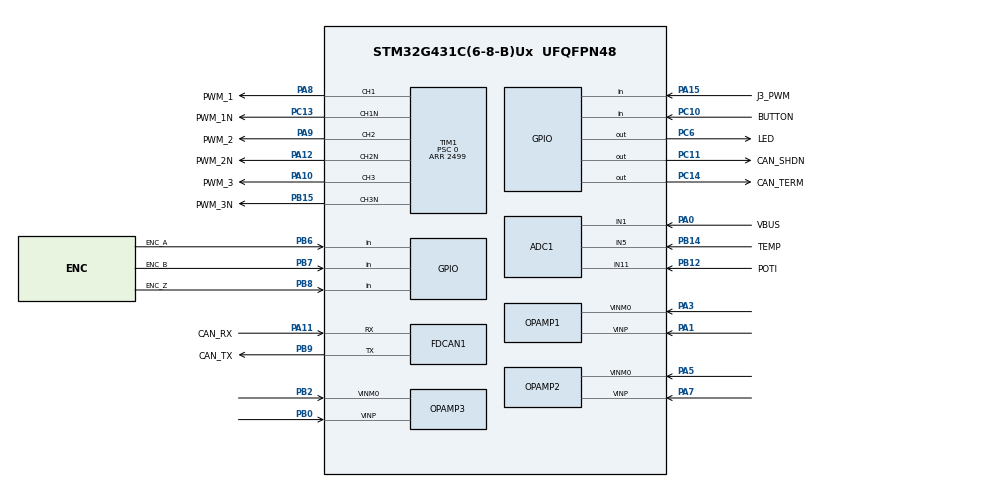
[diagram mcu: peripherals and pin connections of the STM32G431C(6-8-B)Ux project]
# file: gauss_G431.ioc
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ADC1.Channel-0\#ChannelRegularConversion=ADC_CHANNEL_5
ADC1.Channel-1\#ChannelRegularConversion=ADC_CHANNEL_11
ADC1.EOCSelection=ADC_EOC_SEQ_CONV
ADC1.EnableInjectedConversion=ENABLE
ADC1.ExternalTrigInjecConv=ADC_EXTERNALTRIGINJEC_T1_TRGO
ADC1.InjNumberOfConversion=3
ADC1.InjectedChannel-2\#ChannelInjectedConversion=ADC_CHANNEL_VOPAMP1
ADC1.InjectedChannel-3\#ChannelInjectedConversion=ADC_CHANNEL_1
ADC1.InjectedChannel-5\#ChannelInjectedConversion=ADC_CHANNEL_11
ADC1.InjectedConvMode=None
ADC1.InjectedOffset-2\#ChannelInjectedConversion=2490
ADC1.InjectedOffsetNumber-2\#ChannelInjectedConversion=ADC_OFFSET_1
ADC1.InjectedOffsetNumber-3\#ChannelInjectedConversion=ADC_OFFSET_NONE
ADC1.InjectedOffsetNumber-5\#ChannelInjectedConversion=ADC_OFFSET_NONE
ADC1.InjectedRank-2\#ChannelInjectedConversion=1
ADC1.InjectedRank-3\#ChannelInjectedConversion=2
ADC1.InjectedRank-5\#ChannelInjectedConversion=3
ADC1.InjectedSamplingTime-2\#ChannelInjectedConversion=ADC_SAMPLETIME_2CYCLES_5
ADC1.InjectedSamplingTime-3\#ChannelInjectedConversion=ADC_SAMPLETIME_2CYCLES_5
ADC1.InjectedSamplingTime-5\#ChannelInjectedConversion=ADC_SAMPLETIME_2CYCLES_5
ADC1.NbrOfConversion=2
ADC1.NbrOfConversionFlag=1
ADC1.OffsetNumber-0\#ChannelRegularConversion=ADC_OFFSET_NONE
ADC1.OffsetNumber-1\#ChannelRegularConversion=ADC_OFFSET_NONE
ADC1.Rank-0\#ChannelRegularConversion=1
ADC1.Rank-1\#ChannelRegularConversion=2
ADC1.Rank1_Channel=ADC_CHANNEL_VOPAMP1
ADC1.Rank2_Channel=ADC_CHANNEL_1
ADC1.Rank3_Channel=ADC_CHANNEL_11
ADC1.SamplingTime-0\#ChannelRegularConversion=ADC_SAMPLETIME_2CYCLES_5
ADC1.SamplingTime-1\#ChannelRegularConversion=ADC_SAMPLETIME_2CYCLES_5
ADC1.injectedQueueMode=DISABLE
ADC1.master=1
ADC2.EnableInjectedConversion=ENABLE
ADC2.EnableRegularConversion=DISABLE
ADC2.ExternalTrigInjecConv=ADC_EXTERNALTRIGINJEC_T1_TRGO
ADC2.InjNumberOfConversion=2
ADC2.InjectedChannel-1\#ChannelInjectedConversion=ADC_CHANNEL_VOPAMP2
ADC2.InjectedChannel-2\#ChannelInjectedConversion=ADC_CHANNEL_VOPAMP3_ADC2
ADC2.InjectedConvMode=None
ADC2.InjectedOffset-1\#ChannelInjectedConversion=2490
ADC2.InjectedOffset-2\#ChannelInjectedConversion=2490
ADC2.InjectedOffsetNumber-1\#ChannelInjectedConversion=ADC_OFFSET_1
ADC2.InjectedOffsetNumber-2\#ChannelInjectedConversion=ADC_OFFSET_2
ADC2.InjectedRank-1\#ChannelInjectedConversion=1
ADC2.InjectedRank-2\#ChannelInjectedConversion=2
ADC2.InjectedSamplingTime-1\#ChannelInjectedConversion=ADC_SAMPLETIME_2CYCLES_5
ADC2.InjectedSamplingTime-2\#ChannelInjectedConversion=ADC_SAMPLETIME_2CYCLES_5
ADC2.Rank1_Channel=ADC_CHANNEL_VOPAMP2
ADC2.Rank2_Channel=ADC_CHANNEL_VOPAMP3_ADC2
ADC2.injectedQueueMode=DISABLE
FDCAN1.ClockDivider=FDCAN_CLOCK_DIV1
FDCAN1.DataTimeSeg1=1
FDCAN1.DataTimeSeg2=1
FDCAN1.FrameFormat=FDCAN_FRAME_CLASSIC
FDCAN1.NominalTimeSeg1=99
FDCAN1.NominalTimeSeg2=60
Mcu.Family=STM32G4
Mcu.Name=STM32G431C(6-8-B)Ux
Mcu.Package=UFQFPN48
NVIC.FDCAN1_IT0_IRQn=true\:6\:0\:true\:false\:true\:true\:true\:true
NVIC.PriorityGroup=NVIC_PRIORITYGROUP_4
NVIC.TIM1_UP_TIM16_IRQn=true\:5\:0\:true\:false\:true\:true\:true\:true
OPAMP1.PgaGain=OPAMP_PGA_GAIN_16_OR_MINUS_15
OPAMP2.PgaGain=OPAMP_PGA_GAIN_16_OR_MINUS_15
OPAMP3.PgaGain=OPAMP_PGA_GAIN_16_OR_MINUS_15
PA0.GPIO_Label=VBUS
PA0.Mode=IN1-Single-Ended
PA0.Signal=ADC1_IN1
PA1.Mode=PGA Internally connected_IO0_BIAS
PA1.Signal=OPAMP1_VINP
PA10.GPIO_Label=PWM_3
PA10.Signal=S_TIM1_CH3
PA11.GPIO_Label=CAN_RX
PA11.Mode=FDCAN_Activate
PA11.Signal=FDCAN1_RX
PA12.GPIO_Label=PWM_2N
PA12.Mode=PWM Generation2 CH2 CH2N
PA12.Signal=TIM1_CH2N
PA15.GPIO_Label=J3_PWM
PA15.Signal=GPIO_Input
PA3.Mode=PGA Internally connected_IO0_BIAS
PA3.Signal=OPAMP1_VINM0
PA5.Mode=PGA Internally connected_IO0_BIAS
PA5.Signal=OPAMP2_VINM0
PA7.Mode=PGA Internally connected_IO0_BIAS
PA7.Signal=OPAMP2_VINP
PA8.GPIO_Label=PWM_1
PA8.Signal=S_TIM1_CH1
PA9.GPIO_Label=PWM_2
PA9.Signal=S_TIM1_CH2
PB0.Mode=PGA Internally connected_IO0_BIAS
PB0.Signal=OPAMP3_VINP
PB12.GPIO_Label=POTI
PB12.Mode=IN11-Single-Ended
PB12.Signal=ADC1_IN11
PB14.GPIO_Label=TEMP
PB14.Mode=IN5-Single-Ended
PB14.Signal=ADC1_IN5
PB15.GPIO_Label=PWM_3N
PB15.Mode=PWM Generation3 CH3 CH3N
PB15.Signal=TIM1_CH3N
PB2.Mode=PGA Internally connected_IO0_BIAS
PB2.Signal=OPAMP3_VINM0
PB6.GPIO_Label=ENC_A
PB6.Signal=GPIO_Input
PB7.GPIO_Label=ENC_B
PB7.Signal=GPIO_Input
PB8-BOOT0.GPIO_Label=ENC_Z
PB8-BOOT0.Signal=GPIO_Input
PB9.GPIO_Label=CAN_TX
PB9.Mode=FDCAN_Activate
PB9.Signal=FDCAN1_TX
PC10.GPIO_Label=BUTTON
PC10.GPIO_PuPd=GPIO_NOPULL
PC10.Signal=GPIO_Input
PC11.GPIO_Label=CAN_SHDN
PC11.Signal=GPIO_Output
PC13.GPIO_Label=PWM_1N
PC13.Mode=PWM Generation1 CH1 CH1N
PC13.Signal=TIM1_CH1N
PC14-OSC32_IN.GPIO_Label=CAN_TERM
PC14-OSC32_IN.Signal=GPIO_Output
PC6.GPIO_Label=LED
PC6.Signal=GPIO_Output
PF0-OSC_IN.Mode=HSE-External-Oscillator
PF0-OSC_IN.Signal=RCC_OSC_IN
PF1-OSC_OUT.Mode=HSE-External-Oscillator
PF1-OSC_OUT.Signal=RCC_OSC_OUT
ProjectManager.HeapSize=0x200
ProjectManager.StackSize=0x400
ProjectManager.TargetToolchain=STM32CubeIDE
RCC.ADC12Freq_Value=160000000
RCC.AHBFreq_Value=160000000
RCC.APB1Freq_Value=160000000
RCC.APB1TimFreq_Value=160000000
RCC.APB2Freq_Value=160000000
RCC.APB2TimFreq_Value=160000000
RCC.CortexFreq_Value=160000000
RCC.EXTERNAL_CLOCK_VALUE=12288000
RCC.HCLKFreq_Value=160000000
RCC.HSE_VALUE=8000000
RCC.HSI48_VALUE=48000000
RCC.HSI_VALUE=16000000
RCC.LSE_VALUE=32768
RCC.PLLM=RCC_PLLM_DIV2
RCC.PLLN=80
RCC.PLLSourceVirtual=RCC_PLLSOURCE_HSE
RCC.SYSCLKFreq_VALUE=160000000
RCC.SYSCLKSource=RCC_SYSCLKSOURCE_PLLCLK
RCC.USBFreq_Value=160000000
RCC.VCOOutputFreq_Value=320000000
SH.S_TIM1_CH1.0=TIM1_CH1,PWM Generation1 CH1 CH1N
SH.S_TIM1_CH2.0=TIM1_CH2,PWM Generation2 CH2 CH2N
SH.S_TIM1_CH3.0=TIM1_CH3,PWM Generation3 CH3 CH3N
TIM1.AutoReloadPreload=TIM_AUTORELOAD_PRELOAD_ENABLE
TIM1.Channel-PWM\ Generation1\ CH1\ CH1N=TIM_CHANNEL_1
TIM1.Channel-PWM\ Generation2\ CH2\ CH2N=TIM_CHANNEL_2
TIM1.Channel-PWM\ Generation3\ CH3\ CH3N=TIM_CHANNEL_3
TIM1.CounterMode=TIM_COUNTERMODE_CENTERALIGNED1
TIM1.DeadTime=160
TIM1.LockLevel=TIM_LOCKLEVEL_1
TIM1.PeriodNoDither=2499
TIM1.Prescaler=0
TIM1.PulseNoDither_1=0
TIM1.PulseNoDither_2=0
TIM1.PulseNoDither_3=0
TIM1.RepetitionCounter=3
TIM1.TIM_MasterOutputTrigger=TIM_TRGO_UPDATE
VP_ADC1_OPAMP_INTERNAL1.Mode=IN-OPAMP1
VP_ADC2_OPAMP_INTERNAL2.Mode=IN-OPAMP2
VP_ADC2_OPAMP_INTERNAL3.Mode=IN-OPAMP3
VP_SYS_VS_DBSignals.Mode=DisableDeadBatterySignals
VP_TIM1_VS_ClockSourceINT.Mode=Internal
board=custom

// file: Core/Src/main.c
/* USER CODE BEGIN Header */
/**
  ******************************************************************************
  * @file           : main.c
  * @brief          : Main program body
  ******************************************************************************
  * @attention
  *
  * <h2><center>&copy; Copyright (c) 2021 STMicroelectronics.
  * All rights reserved.</center></h2>
  *
  * This software component is licensed by ST under BSD 3-Clause license,
  * the "License"; You may not use this file except in compliance with the
  * License. You may obtain a copy of the License at:
  *                        opensource.org/licenses/BSD-3-Clause
  *
  ******************************************************************************
  */
/* USER CODE END Header */
#include "main.h"

/* USER CODE BEGIN Includes */
#include <math.h>
//#include <string.h>
#include "libcontrol/control.h"
/* USER CODE END Includes */

FDCAN_HandleTypeDef hfdcan1;

/* USER CODE BEGIN PV */

//Power stage XXX
static calib_data_t calib_data = {
		.ia = {.offs = 0, .gain = -1900},
		.ib = {.offs = 0, .gain = -1900},
		.ic = {.offs = 0, .gain = -1900},
		.i_autoOffs = true,
		.vbus = {.offs = 47, .gain = 551},
		.poti = {.offs = 0,  .gain = 256}
};

static FDCAN_RxHeaderTypeDef RxHeader;
static uint8_t RxData[8];
static FDCAN_TxHeaderTypeDef TxHeader;
static uint8_t TxData[8];

/* USER CODE END PV */

void SystemClock_Config(void);
static void MX_GPIO_Init(void);
static void MX_OPAMP3_Init(void);
static void MX_OPAMP1_Init(void);
static void MX_OPAMP2_Init(void);
static void MX_TIM1_Init(void);
static void MX_ADC1_Init(void);
static void MX_ADC2_Init(void);
static void MX_FDCAN1_Init(void);

/* USER CODE BEGIN 0 */

static void FDCAN_Config(void)
{
  FDCAN_FilterTypeDef sFilterConfig;

  /* Configure Rx filter */
  sFilterConfig.IdType = FDCAN_STANDARD_ID;
  sFilterConfig.FilterIndex = 0;
  sFilterConfig.FilterType = FDCAN_FILTER_MASK; //FDCAN_FILTER_RANGE, FDCAN_FILTER_DUAL ...
  sFilterConfig.FilterConfig = FDCAN_FILTER_TO_RXFIFO0;
  sFilterConfig.FilterID1 = 0x321;
  sFilterConfig.FilterID2 = 0x7FF;
  if (HAL_FDCAN_ConfigFilter(&hfdcan1, &sFilterConfig) != HAL_OK)
  {
    Error_Handler();
  }

  /* Configure global filter:
     Filter all remote frames with STD and EXT ID
     Reject non matching frames with STD ID and EXT ID */
  if (HAL_FDCAN_ConfigGlobalFilter(&hfdcan1, FDCAN_REJECT, FDCAN_REJECT, FDCAN_FILTER_REMOTE, FDCAN_FILTER_REMOTE) != HAL_OK)
  {
    Error_Handler();
  }

  /* Start the FDCAN module */
  if (HAL_FDCAN_Start(&hfdcan1) != HAL_OK)
  {
    Error_Handler();
  }

  if (HAL_FDCAN_ActivateNotification(&hfdcan1, FDCAN_IT_RX_FIFO0_NEW_MESSAGE, 0) != HAL_OK)
  {
    Error_Handler();
  }

  /* Prepare Tx Header */
  TxHeader.Identifier = 0x321;
  TxHeader.IdType = FDCAN_STANDARD_ID;
  TxHeader.TxFrameType = FDCAN_DATA_FRAME;
  TxHeader.DataLength = FDCAN_DLC_BYTES_4;
  TxHeader.ErrorStateIndicator = FDCAN_ESI_ACTIVE;
  TxHeader.BitRateSwitch = FDCAN_BRS_OFF;
  TxHeader.FDFormat = FDCAN_CLASSIC_CAN;
  TxHeader.TxEventFifoControl = FDCAN_NO_TX_EVENTS;
  TxHeader.MessageMarker = 0;

  //LL_GPIO_ResetOutputPin(CAN_TERM_GPIO_Port, CAN_TERM_Pin);
  //LL_GPIO_ResetOutputPin(CAN_SHDN_GPIO_Port, CAN_SHDN_Pin);

  LL_GPIO_SetOutputPin(CAN_TERM_GPIO_Port, CAN_TERM_Pin); //Enable 120 Ohm terminating Resistor
}

/**
  * @brief  Rx FIFO 0 callback.
  * @param  hfdcan: pointer to an FDCAN_HandleTypeDef structure that contains
  *         the configuration information for the specified FDCAN.
  * @param  RxFifo0ITs: indicates which Rx FIFO 0 interrupts are signalled.
  *         This parameter can be any combination of @arg FDCAN_Rx_Fifo0_Interrupts.
  * @retval None
  */
void HAL_FDCAN_RxFifo0Callback(FDCAN_HandleTypeDef *hfdcan, uint32_t RxFifo0ITs)
{
  if((RxFifo0ITs & FDCAN_IT_RX_FIFO0_NEW_MESSAGE) != RESET)
  {
    /* Retrieve Rx messages from RX FIFO0 */
    if (HAL_FDCAN_GetRxMessage(hfdcan, FDCAN_RX_FIFO0, &RxHeader, RxData) != HAL_OK)
    {
    Error_Handler();
    }

    /* Display LEDx */
    if ((RxHeader.Identifier == 0x321) && (RxHeader.IdType == FDCAN_STANDARD_ID) && (RxHeader.DataLength == FDCAN_DLC_BYTES_2))
    {
      //LED_Display(RxData[0]);
      //ubKeyNumber = RxData[0];
    }
  }
}

/* USER CODE END 0 */

int main(void)
{

  /* MCU Configuration--------------------------------------------------------*/

  /* Reset of all peripherals, Initializes the Flash interface and the Systick. */
  HAL_Init();

  /* Configure the system clock */
  SystemClock_Config();

  /* Initialize all configured peripherals */
  MX_GPIO_Init();
  MX_OPAMP3_Init();
  MX_OPAMP1_Init();
  MX_OPAMP2_Init();
  MX_TIM1_Init();
  MX_ADC1_Init();
  MX_ADC2_Init();
  MX_FDCAN1_Init();
  /* USER CODE BEGIN 2 */

  //Enable Opamps
  LL_OPAMP_Enable(OPAMP1);
  LL_OPAMP_Enable(OPAMP2);
  LL_OPAMP_Enable(OPAMP3);

  //Enable ADCs
  LL_ADC_Enable(ADC1);
  LL_ADC_Enable(ADC2);

  //LL_ADC_EnableIT_EOCS(ADC1);
  //LL_ADC_REG_StartConversionSWStart(ADC1);
  LL_ADC_INJ_StartConversion(ADC1);
  //LL_ADC_EnableIT_EOCS(ADC2);
  //LL_ADC_REG_StartConversionSWStart(ADC2);
  LL_ADC_INJ_StartConversion(ADC2);

  //TIM 4 is for Encoder
  LL_TIM_EnableCounter(TIM4);
  LL_TIM_CC_EnableChannel(TIM4, LL_TIM_CHANNEL_CH3); //Zero marker position

  //TIM1 is for PWM
  LL_TIM_EnableCounter(TIM1);
  LL_TIM_CC_EnableChannel(TIM1, LL_TIM_CHANNEL_CH1);
  LL_TIM_CC_EnableChannel(TIM1, LL_TIM_CHANNEL_CH1N);
  LL_TIM_CC_EnableChannel(TIM1, LL_TIM_CHANNEL_CH2);
  LL_TIM_CC_EnableChannel(TIM1, LL_TIM_CHANNEL_CH2N);
  LL_TIM_CC_EnableChannel(TIM1, LL_TIM_CHANNEL_CH3);
  LL_TIM_CC_EnableChannel(TIM1, LL_TIM_CHANNEL_CH3N);
  //LL_TIM_EnableAllOutputs(TIM1); //PWM on (done in control FSM)

  //Config / Enable CAN
  FDCAN_Config();
  //HAL_FDCAN_Start(&hfdcan1); // done in FDCAN_Config

  /* Set the data to be transmitted */
  //TxData[0] = 0x12;
  //TxData[1] = 0xAD;

  /* Start the Transmission process */
  //if (HAL_FDCAN_AddMessageToTxFifoQ(&hfdcan1, &TxHeader, TxData) != HAL_OK)
  //{
	  /* Transmission request Error */
	  //Error_Handler();
  //}

  LL_TIM_EnableIT_UPDATE(TIM1); //PWM interrupt

  /* USER CODE END 2 */

  /* Infinite loop */
  while (1)
  {

  }
}

void SystemClock_Config(void)
{
  LL_FLASH_SetLatency(LL_FLASH_LATENCY_4);
  while(LL_FLASH_GetLatency() != LL_FLASH_LATENCY_4)
  {
  }
  LL_PWR_EnableRange1BoostMode();
  LL_RCC_HSE_Enable();
   /* Wait till HSE is ready */
  while(LL_RCC_HSE_IsReady() != 1)
  {
  }

  LL_RCC_PLL_ConfigDomain_SYS(LL_RCC_PLLSOURCE_HSE, LL_RCC_PLLM_DIV_2, 80, LL_RCC_PLLR_DIV_2);
  LL_RCC_PLL_EnableDomain_SYS();
  LL_RCC_PLL_Enable();
   /* Wait till PLL is ready */
  while(LL_RCC_PLL_IsReady() != 1)
  {
  }

  LL_RCC_SetSysClkSource(LL_RCC_SYS_CLKSOURCE_PLL);
  LL_RCC_SetAHBPrescaler(LL_RCC_SYSCLK_DIV_2);
   /* Wait till System clock is ready */
  while(LL_RCC_GetSysClkSource() != LL_RCC_SYS_CLKSOURCE_STATUS_PLL)
  {
  }

  /* Insure 1�s transition state at intermediate medium speed clock based on DWT */
  CoreDebug->DEMCR |= CoreDebug_DEMCR_TRCENA_Msk;
  DWT->CTRL |= DWT_CTRL_CYCCNTENA_Msk;
  DWT->CYCCNT = 0;
  while(DWT->CYCCNT < 100);
  /* Set AHB prescaler*/
  LL_RCC_SetAHBPrescaler(LL_RCC_SYSCLK_DIV_1);
  LL_RCC_SetAPB1Prescaler(LL_RCC_APB1_DIV_1);
  LL_RCC_SetAPB2Prescaler(LL_RCC_APB2_DIV_1);
  LL_SetSystemCoreClock(160000000);

   /* Update the time base */
  if (HAL_InitTick (TICK_INT_PRIORITY) != HAL_OK)
  {
    Error_Handler();
  }
}

static void MX_ADC1_Init(void)
{

  LL_ADC_InitTypeDef ADC_InitStruct = {0};
  LL_ADC_REG_InitTypeDef ADC_REG_InitStruct = {0};
  LL_ADC_CommonInitTypeDef ADC_CommonInitStruct = {0};
  LL_ADC_INJ_InitTypeDef ADC_INJ_InitStruct = {0};

  LL_GPIO_InitTypeDef GPIO_InitStruct = {0};

  LL_RCC_SetADCClockSource(LL_RCC_ADC12_CLKSOURCE_SYSCLK);

  /* Peripheral clock enable */
  LL_AHB2_GRP1_EnableClock(LL_AHB2_GRP1_PERIPH_ADC12);

  LL_AHB2_GRP1_EnableClock(LL_AHB2_GRP1_PERIPH_GPIOA);
  LL_AHB2_GRP1_EnableClock(LL_AHB2_GRP1_PERIPH_GPIOB);
  /**ADC1 GPIO Configuration
  PA0   ------> ADC1_IN1
  PB12   ------> ADC1_IN11
  PB14   ------> ADC1_IN5
  */
  GPIO_InitStruct.Pin = VBUS_Pin;
  GPIO_InitStruct.Mode = LL_GPIO_MODE_ANALOG;
  GPIO_InitStruct.Pull = LL_GPIO_PULL_NO;
  LL_GPIO_Init(VBUS_GPIO_Port, &GPIO_InitStruct);

  GPIO_InitStruct.Pin = POTI_Pin;
  GPIO_InitStruct.Mode = LL_GPIO_MODE_ANALOG;
  GPIO_InitStruct.Pull = LL_GPIO_PULL_NO;
  LL_GPIO_Init(POTI_GPIO_Port, &GPIO_InitStruct);

  GPIO_InitStruct.Pin = TEMP_Pin;
  GPIO_InitStruct.Mode = LL_GPIO_MODE_ANALOG;
  GPIO_InitStruct.Pull = LL_GPIO_PULL_NO;
  LL_GPIO_Init(TEMP_GPIO_Port, &GPIO_InitStruct);

  /** Common config
  */
  ADC_InitStruct.Resolution = LL_ADC_RESOLUTION_12B;
  ADC_InitStruct.DataAlignment = LL_ADC_DATA_ALIGN_RIGHT;
  ADC_InitStruct.LowPowerMode = LL_ADC_LP_MODE_NONE;
  LL_ADC_Init(ADC1, &ADC_InitStruct);
  ADC_REG_InitStruct.TriggerSource = LL_ADC_REG_TRIG_SOFTWARE;
  ADC_REG_InitStruct.SequencerLength = LL_ADC_REG_SEQ_SCAN_ENABLE_2RANKS;
  ADC_REG_InitStruct.SequencerDiscont = LL_ADC_REG_SEQ_DISCONT_DISABLE;
  ADC_REG_InitStruct.ContinuousMode = LL_ADC_REG_CONV_SINGLE;
  ADC_REG_InitStruct.DMATransfer = LL_ADC_REG_DMA_TRANSFER_NONE;
  ADC_REG_InitStruct.Overrun = LL_ADC_REG_OVR_DATA_PRESERVED;
  LL_ADC_REG_Init(ADC1, &ADC_REG_InitStruct);
  LL_ADC_SetGainCompensation(ADC1, 0);
  LL_ADC_SetOverSamplingScope(ADC1, LL_ADC_OVS_DISABLE);
  ADC_CommonInitStruct.CommonClock = LL_ADC_CLOCK_SYNC_PCLK_DIV4;
  ADC_CommonInitStruct.Multimode = LL_ADC_MULTI_INDEPENDENT;
  LL_ADC_CommonInit(__LL_ADC_COMMON_INSTANCE(ADC1), &ADC_CommonInitStruct);
  ADC_INJ_InitStruct.TriggerSource = LL_ADC_INJ_TRIG_EXT_TIM1_TRGO;
  ADC_INJ_InitStruct.SequencerLength = LL_ADC_INJ_SEQ_SCAN_ENABLE_3RANKS;
  ADC_INJ_InitStruct.SequencerDiscont = LL_ADC_INJ_SEQ_DISCONT_DISABLE;
  ADC_INJ_InitStruct.TrigAuto = LL_ADC_INJ_TRIG_INDEPENDENT;
  LL_ADC_INJ_Init(ADC1, &ADC_INJ_InitStruct);
  LL_ADC_INJ_SetQueueMode(ADC1, LL_ADC_INJ_QUEUE_DISABLE);
  LL_ADC_INJ_SetTriggerEdge(ADC1, LL_ADC_INJ_TRIG_EXT_RISING);

  /* Disable ADC deep power down (enabled by default after reset state) */
  LL_ADC_DisableDeepPowerDown(ADC1);
  /* Enable ADC internal voltage regulator */
  LL_ADC_EnableInternalRegulator(ADC1);
  /* Delay for ADC internal voltage regulator stabilization. */
  /* Compute number of CPU cycles to wait for, from delay in us. */
  /* Note: Variable divided by 2 to compensate partially */
  /* CPU processing cycles (depends on compilation optimization). */
  /* Note: If system core clock frequency is below 200kHz, wait time */
  /* is only a few CPU processing cycles. */
  uint32_t wait_loop_index;
  wait_loop_index = ((LL_ADC_DELAY_INTERNAL_REGUL_STAB_US * (SystemCoreClock / (100000 * 2))) / 10);
  while(wait_loop_index != 0)
  {
    wait_loop_index--;
  }
  /** Configure Regular Channel
  */
  LL_ADC_REG_SetSequencerRanks(ADC1, LL_ADC_REG_RANK_1, LL_ADC_CHANNEL_5);
  LL_ADC_SetChannelSamplingTime(ADC1, LL_ADC_CHANNEL_5, LL_ADC_SAMPLINGTIME_2CYCLES_5);
  LL_ADC_SetChannelSingleDiff(ADC1, LL_ADC_CHANNEL_5, LL_ADC_SINGLE_ENDED);
  /** Configure Regular Channel
  */
  LL_ADC_REG_SetSequencerRanks(ADC1, LL_ADC_REG_RANK_2, LL_ADC_CHANNEL_11);
  LL_ADC_SetChannelSamplingTime(ADC1, LL_ADC_CHANNEL_11, LL_ADC_SAMPLINGTIME_2CYCLES_5);
  LL_ADC_SetChannelSingleDiff(ADC1, LL_ADC_CHANNEL_11, LL_ADC_SINGLE_ENDED);
  /** Configure Injected Channel
  */
  LL_ADC_INJ_SetSequencerRanks(ADC1, LL_ADC_INJ_RANK_1, LL_ADC_CHANNEL_VOPAMP1);
  LL_ADC_SetChannelSamplingTime(ADC1, LL_ADC_CHANNEL_VOPAMP1, LL_ADC_SAMPLINGTIME_2CYCLES_5);
  LL_ADC_SetChannelSingleDiff(ADC1, LL_ADC_CHANNEL_VOPAMP1, LL_ADC_SINGLE_ENDED);
  LL_ADC_SetOffset(ADC1, LL_ADC_OFFSET_1, LL_ADC_CHANNEL_VOPAMP1, 2490);
  LL_ADC_SetOffsetSign(ADC1, LL_ADC_OFFSET_1, LL_ADC_OFFSET_SIGN_NEGATIVE);
  LL_ADC_SetOffsetSaturation(ADC1, LL_ADC_OFFSET_1, LL_ADC_OFFSET_SATURATION_DISABLE);
  /** Configure Injected Channel
  */
  LL_ADC_INJ_SetSequencerRanks(ADC1, LL_ADC_INJ_RANK_2, LL_ADC_CHANNEL_1);
  LL_ADC_SetChannelSamplingTime(ADC1, LL_ADC_CHANNEL_1, LL_ADC_SAMPLINGTIME_2CYCLES_5);
  LL_ADC_SetChannelSingleDiff(ADC1, LL_ADC_CHANNEL_1, LL_ADC_SINGLE_ENDED);
  /** Configure Injected Channel
  */
  LL_ADC_INJ_SetSequencerRanks(ADC1, LL_ADC_INJ_RANK_3, LL_ADC_CHANNEL_11);
  LL_ADC_SetChannelSamplingTime(ADC1, LL_ADC_CHANNEL_11, LL_ADC_SAMPLINGTIME_2CYCLES_5);
  LL_ADC_SetChannelSingleDiff(ADC1, LL_ADC_CHANNEL_11, LL_ADC_SINGLE_ENDED);

}

static void MX_ADC2_Init(void)
{

  LL_ADC_InitTypeDef ADC_InitStruct = {0};
  LL_ADC_REG_InitTypeDef ADC_REG_InitStruct = {0};
  LL_ADC_INJ_InitTypeDef ADC_INJ_InitStruct = {0};

  LL_RCC_SetADCClockSource(LL_RCC_ADC12_CLKSOURCE_SYSCLK);

  /* Peripheral clock enable */
  LL_AHB2_GRP1_EnableClock(LL_AHB2_GRP1_PERIPH_ADC12);

  /** Common config
  */
  ADC_InitStruct.Resolution = LL_ADC_RESOLUTION_12B;
  ADC_InitStruct.DataAlignment = LL_ADC_DATA_ALIGN_RIGHT;
  ADC_InitStruct.LowPowerMode = LL_ADC_LP_MODE_NONE;
  LL_ADC_Init(ADC2, &ADC_InitStruct);
  ADC_REG_InitStruct.SequencerLength = LL_ADC_REG_SEQ_SCAN_DISABLE;
  ADC_REG_InitStruct.SequencerDiscont = LL_ADC_REG_SEQ_DISCONT_DISABLE;
  ADC_REG_InitStruct.ContinuousMode = LL_ADC_REG_CONV_SINGLE;
  ADC_REG_InitStruct.DMATransfer = LL_ADC_REG_DMA_TRANSFER_NONE;
  ADC_REG_InitStruct.Overrun = LL_ADC_REG_OVR_DATA_PRESERVED;
  LL_ADC_REG_Init(ADC2, &ADC_REG_InitStruct);
  LL_ADC_SetGainCompensation(ADC2, 0);
  LL_ADC_SetOverSamplingScope(ADC2, LL_ADC_OVS_DISABLE);
  ADC_INJ_InitStruct.TriggerSource = LL_ADC_INJ_TRIG_EXT_TIM1_TRGO;
  ADC_INJ_InitStruct.SequencerLength = LL_ADC_INJ_SEQ_SCAN_ENABLE_2RANKS;
  ADC_INJ_InitStruct.SequencerDiscont = LL_ADC_INJ_SEQ_DISCONT_DISABLE;
  ADC_INJ_InitStruct.TrigAuto = LL_ADC_INJ_TRIG_INDEPENDENT;
  LL_ADC_INJ_Init(ADC2, &ADC_INJ_InitStruct);
  LL_ADC_INJ_SetQueueMode(ADC2, LL_ADC_INJ_QUEUE_DISABLE);
  LL_ADC_INJ_SetTriggerEdge(ADC2, LL_ADC_INJ_TRIG_EXT_RISING);

  /* Disable ADC deep power down (enabled by default after reset state) */
  LL_ADC_DisableDeepPowerDown(ADC2);
  /* Enable ADC internal voltage regulator */
  LL_ADC_EnableInternalRegulator(ADC2);
  /* Delay for ADC internal voltage regulator stabilization. */
  /* Compute number of CPU cycles to wait for, from delay in us. */
  /* Note: Variable divided by 2 to compensate partially */
  /* CPU processing cycles (depends on compilation optimization). */
  /* Note: If system core clock frequency is below 200kHz, wait time */
  /* is only a few CPU processing cycles. */
  uint32_t wait_loop_index;
  wait_loop_index = ((LL_ADC_DELAY_INTERNAL_REGUL_STAB_US * (SystemCoreClock / (100000 * 2))) / 10);
  while(wait_loop_index != 0)
  {
    wait_loop_index--;
  }
  /** Configure Injected Channel
  */
  LL_ADC_INJ_SetSequencerRanks(ADC2, LL_ADC_INJ_RANK_1, LL_ADC_CHANNEL_VOPAMP2);
  LL_ADC_SetChannelSamplingTime(ADC2, LL_ADC_CHANNEL_VOPAMP2, LL_ADC_SAMPLINGTIME_2CYCLES_5);
  LL_ADC_SetChannelSingleDiff(ADC2, LL_ADC_CHANNEL_VOPAMP2, LL_ADC_SINGLE_ENDED);
  LL_ADC_SetOffset(ADC2, LL_ADC_OFFSET_1, LL_ADC_CHANNEL_VOPAMP2, 2490);
  LL_ADC_SetOffsetSign(ADC2, LL_ADC_OFFSET_1, LL_ADC_OFFSET_SIGN_NEGATIVE);
  LL_ADC_SetOffsetSaturation(ADC2, LL_ADC_OFFSET_1, LL_ADC_OFFSET_SATURATION_DISABLE);
  /** Configure Injected Channel
  */
  LL_ADC_INJ_SetSequencerRanks(ADC2, LL_ADC_INJ_RANK_2, LL_ADC_CHANNEL_VOPAMP3_ADC2);
  LL_ADC_SetChannelSamplingTime(ADC2, LL_ADC_CHANNEL_VOPAMP3_ADC2, LL_ADC_SAMPLINGTIME_2CYCLES_5);
  LL_ADC_SetChannelSingleDiff(ADC2, LL_ADC_CHANNEL_VOPAMP3_ADC2, LL_ADC_SINGLE_ENDED);
  LL_ADC_SetOffset(ADC2, LL_ADC_OFFSET_2, LL_ADC_CHANNEL_VOPAMP3_ADC2, 2490);
  LL_ADC_SetOffsetSign(ADC2, LL_ADC_OFFSET_2, LL_ADC_OFFSET_SIGN_NEGATIVE);
  LL_ADC_SetOffsetSaturation(ADC2, LL_ADC_OFFSET_2, LL_ADC_OFFSET_SATURATION_DISABLE);

}

static void MX_FDCAN1_Init(void)
{

  hfdcan1.Instance = FDCAN1;
  hfdcan1.Init.ClockDivider = FDCAN_CLOCK_DIV1;
  hfdcan1.Init.FrameFormat = FDCAN_FRAME_CLASSIC;
  hfdcan1.Init.Mode = FDCAN_MODE_NORMAL;
  hfdcan1.Init.AutoRetransmission = DISABLE;
  hfdcan1.Init.TransmitPause = DISABLE;
  hfdcan1.Init.ProtocolException = DISABLE;
  hfdcan1.Init.NominalPrescaler = 1;
  hfdcan1.Init.NominalSyncJumpWidth = 1;
  hfdcan1.Init.NominalTimeSeg1 = 99;
  hfdcan1.Init.NominalTimeSeg2 = 60;
  hfdcan1.Init.DataPrescaler = 1;
  hfdcan1.Init.DataSyncJumpWidth = 1;
  hfdcan1.Init.DataTimeSeg1 = 1;
  hfdcan1.Init.DataTimeSeg2 = 1;
  hfdcan1.Init.StdFiltersNbr = 0;
  hfdcan1.Init.ExtFiltersNbr = 0;
  hfdcan1.Init.TxFifoQueueMode = FDCAN_TX_FIFO_OPERATION;
  if (HAL_FDCAN_Init(&hfdcan1) != HAL_OK)
  {
    Error_Handler();
  }

}

static void MX_OPAMP1_Init(void)
{

  LL_OPAMP_InitTypeDef OPAMP_InitStruct = {0};

  LL_GPIO_InitTypeDef GPIO_InitStruct = {0};

  LL_AHB2_GRP1_EnableClock(LL_AHB2_GRP1_PERIPH_GPIOA);
  /**OPAMP1 GPIO Configuration
  PA1   ------> OPAMP1_VINP
  PA3   ------> OPAMP1_VINM0
  */
  GPIO_InitStruct.Pin = LL_GPIO_PIN_1;
  GPIO_InitStruct.Mode = LL_GPIO_MODE_ANALOG;
  GPIO_InitStruct.Pull = LL_GPIO_PULL_NO;
  LL_GPIO_Init(GPIOA, &GPIO_InitStruct);

  GPIO_InitStruct.Pin = LL_GPIO_PIN_3;
  GPIO_InitStruct.Mode = LL_GPIO_MODE_ANALOG;
  GPIO_InitStruct.Pull = LL_GPIO_PULL_NO;
  LL_GPIO_Init(GPIOA, &GPIO_InitStruct);

  OPAMP_InitStruct.PowerMode = LL_OPAMP_POWERMODE_NORMALSPEED;
  OPAMP_InitStruct.FunctionalMode = LL_OPAMP_MODE_PGA_IO0_BIAS;
  OPAMP_InitStruct.InputNonInverting = LL_OPAMP_INPUT_NONINVERT_IO0;
  LL_OPAMP_Init(OPAMP1, &OPAMP_InitStruct);
  LL_OPAMP_SetInputsMuxMode(OPAMP1, LL_OPAMP_INPUT_MUX_DISABLE);
  LL_OPAMP_SetInternalOutput(OPAMP1, LL_OPAMP_INTERNAL_OUPUT_ENABLED);
  LL_OPAMP_SetPGAGain(OPAMP1, LL_OPAMP_PGA_GAIN_16_OR_MINUS_15);
  LL_OPAMP_SetTrimmingMode(OPAMP1, LL_OPAMP_TRIMMING_FACTORY);

}

static void MX_OPAMP2_Init(void)
{

  LL_OPAMP_InitTypeDef OPAMP_InitStruct = {0};

  LL_GPIO_InitTypeDef GPIO_InitStruct = {0};

  LL_AHB2_GRP1_EnableClock(LL_AHB2_GRP1_PERIPH_GPIOA);
  /**OPAMP2 GPIO Configuration
  PA5   ------> OPAMP2_VINM0
  PA7   ------> OPAMP2_VINP
  */
  GPIO_InitStruct.Pin = LL_GPIO_PIN_5;
  GPIO_InitStruct.Mode = LL_GPIO_MODE_ANALOG;
  GPIO_InitStruct.Pull = LL_GPIO_PULL_NO;
  LL_GPIO_Init(GPIOA, &GPIO_InitStruct);

  GPIO_InitStruct.Pin = LL_GPIO_PIN_7;
  GPIO_InitStruct.Mode = LL_GPIO_MODE_ANALOG;
  GPIO_InitStruct.Pull = LL_GPIO_PULL_NO;
  LL_GPIO_Init(GPIOA, &GPIO_InitStruct);

  OPAMP_InitStruct.PowerMode = LL_OPAMP_POWERMODE_NORMALSPEED;
  OPAMP_InitStruct.FunctionalMode = LL_OPAMP_MODE_PGA_IO0_BIAS;
  OPAMP_InitStruct.InputNonInverting = LL_OPAMP_INPUT_NONINVERT_IO0;
  LL_OPAMP_Init(OPAMP2, &OPAMP_InitStruct);
  LL_OPAMP_SetInputsMuxMode(OPAMP2, LL_OPAMP_INPUT_MUX_DISABLE);
  LL_OPAMP_SetInternalOutput(OPAMP2, LL_OPAMP_INTERNAL_OUPUT_ENABLED);
  LL_OPAMP_SetPGAGain(OPAMP2, LL_OPAMP_PGA_GAIN_16_OR_MINUS_15);
  LL_OPAMP_SetTrimmingMode(OPAMP2, LL_OPAMP_TRIMMING_FACTORY);

}

static void MX_OPAMP3_Init(void)
{

  LL_OPAMP_InitTypeDef OPAMP_InitStruct = {0};

  LL_GPIO_InitTypeDef GPIO_InitStruct = {0};

  LL_AHB2_GRP1_EnableClock(LL_AHB2_GRP1_PERIPH_GPIOB);
  /**OPAMP3 GPIO Configuration
  PB0   ------> OPAMP3_VINP
  PB2   ------> OPAMP3_VINM0
  */
  GPIO_InitStruct.Pin = LL_GPIO_PIN_0;
  GPIO_InitStruct.Mode = LL_GPIO_MODE_ANALOG;
  GPIO_InitStruct.Pull = LL_GPIO_PULL_NO;
  LL_GPIO_Init(GPIOB, &GPIO_InitStruct);

  GPIO_InitStruct.Pin = LL_GPIO_PIN_2;
  GPIO_InitStruct.Mode = LL_GPIO_MODE_ANALOG;
  GPIO_InitStruct.Pull = LL_GPIO_PULL_NO;
  LL_GPIO_Init(GPIOB, &GPIO_InitStruct);

  OPAMP_InitStruct.PowerMode = LL_OPAMP_POWERMODE_NORMALSPEED;
  OPAMP_InitStruct.FunctionalMode = LL_OPAMP_MODE_PGA_IO0_BIAS;
  OPAMP_InitStruct.InputNonInverting = LL_OPAMP_INPUT_NONINVERT_IO0;
  LL_OPAMP_Init(OPAMP3, &OPAMP_InitStruct);
  LL_OPAMP_SetInputsMuxMode(OPAMP3, LL_OPAMP_INPUT_MUX_DISABLE);
  LL_OPAMP_SetInternalOutput(OPAMP3, LL_OPAMP_INTERNAL_OUPUT_ENABLED);
  LL_OPAMP_SetPGAGain(OPAMP3, LL_OPAMP_PGA_GAIN_16_OR_MINUS_15);
  LL_OPAMP_SetTrimmingMode(OPAMP3, LL_OPAMP_TRIMMING_FACTORY);

}

static void MX_TIM1_Init(void)
{

  LL_TIM_InitTypeDef TIM_InitStruct = {0};
  LL_TIM_OC_InitTypeDef TIM_OC_InitStruct = {0};
  LL_TIM_BDTR_InitTypeDef TIM_BDTRInitStruct = {0};

  LL_GPIO_InitTypeDef GPIO_InitStruct = {0};

  /* Peripheral clock enable */
  LL_APB2_GRP1_EnableClock(LL_APB2_GRP1_PERIPH_TIM1);

  /* TIM1 interrupt Init */
  NVIC_SetPriority(TIM1_UP_TIM16_IRQn, NVIC_EncodePriority(NVIC_GetPriorityGrouping(),5, 0));
  NVIC_EnableIRQ(TIM1_UP_TIM16_IRQn);

  TIM_InitStruct.Prescaler = 0;
  TIM_InitStruct.CounterMode = LL_TIM_COUNTERMODE_CENTER_UP;
  TIM_InitStruct.Autoreload = 2499;
  TIM_InitStruct.ClockDivision = LL_TIM_CLOCKDIVISION_DIV1;
  TIM_InitStruct.RepetitionCounter = 3;
  LL_TIM_Init(TIM1, &TIM_InitStruct);
  LL_TIM_EnableARRPreload(TIM1);
  LL_TIM_SetClockSource(TIM1, LL_TIM_CLOCKSOURCE_INTERNAL);
  LL_TIM_OC_EnablePreload(TIM1, LL_TIM_CHANNEL_CH1);
  TIM_OC_InitStruct.OCMode = LL_TIM_OCMODE_PWM1;
  TIM_OC_InitStruct.OCState = LL_TIM_OCSTATE_DISABLE;
  TIM_OC_InitStruct.OCNState = LL_TIM_OCSTATE_DISABLE;
  TIM_OC_InitStruct.CompareValue = 0;
  TIM_OC_InitStruct.OCPolarity = LL_TIM_OCPOLARITY_HIGH;
  TIM_OC_InitStruct.OCNPolarity = LL_TIM_OCPOLARITY_HIGH;
  TIM_OC_InitStruct.OCIdleState = LL_TIM_OCIDLESTATE_LOW;
  TIM_OC_InitStruct.OCNIdleState = LL_TIM_OCIDLESTATE_LOW;
  LL_TIM_OC_Init(TIM1, LL_TIM_CHANNEL_CH1, &TIM_OC_InitStruct);
  LL_TIM_OC_DisableFast(TIM1, LL_TIM_CHANNEL_CH1);
  LL_TIM_OC_EnablePreload(TIM1, LL_TIM_CHANNEL_CH2);
  LL_TIM_OC_Init(TIM1, LL_TIM_CHANNEL_CH2, &TIM_OC_InitStruct);
  LL_TIM_OC_DisableFast(TIM1, LL_TIM_CHANNEL_CH2);
  LL_TIM_OC_EnablePreload(TIM1, LL_TIM_CHANNEL_CH3);
  LL_TIM_OC_Init(TIM1, LL_TIM_CHANNEL_CH3, &TIM_OC_InitStruct);
  LL_TIM_OC_DisableFast(TIM1, LL_TIM_CHANNEL_CH3);
  LL_TIM_SetTriggerOutput(TIM1, LL_TIM_TRGO_UPDATE);
  LL_TIM_SetTriggerOutput2(TIM1, LL_TIM_TRGO2_RESET);
  LL_TIM_DisableMasterSlaveMode(TIM1);
  TIM_BDTRInitStruct.OSSRState = LL_TIM_OSSR_DISABLE;
  TIM_BDTRInitStruct.OSSIState = LL_TIM_OSSI_DISABLE;
  TIM_BDTRInitStruct.LockLevel = LL_TIM_LOCKLEVEL_1;
  TIM_BDTRInitStruct.DeadTime = 160;
  TIM_BDTRInitStruct.BreakState = LL_TIM_BREAK_DISABLE;
  TIM_BDTRInitStruct.BreakPolarity = LL_TIM_BREAK_POLARITY_HIGH;
  TIM_BDTRInitStruct.BreakFilter = LL_TIM_BREAK_FILTER_FDIV1;
  TIM_BDTRInitStruct.BreakAFMode = LL_TIM_BREAK_AFMODE_INPUT;
  TIM_BDTRInitStruct.Break2State = LL_TIM_BREAK2_DISABLE;
  TIM_BDTRInitStruct.Break2Polarity = LL_TIM_BREAK2_POLARITY_HIGH;
  TIM_BDTRInitStruct.Break2Filter = LL_TIM_BREAK2_FILTER_FDIV1;
  TIM_BDTRInitStruct.Break2AFMode = LL_TIM_BREAK_AFMODE_INPUT;
  TIM_BDTRInitStruct.AutomaticOutput = LL_TIM_AUTOMATICOUTPUT_DISABLE;
  LL_TIM_BDTR_Init(TIM1, &TIM_BDTRInitStruct);
  LL_AHB2_GRP1_EnableClock(LL_AHB2_GRP1_PERIPH_GPIOC);
  LL_AHB2_GRP1_EnableClock(LL_AHB2_GRP1_PERIPH_GPIOB);
  LL_AHB2_GRP1_EnableClock(LL_AHB2_GRP1_PERIPH_GPIOA);
  /**TIM1 GPIO Configuration
  PC13   ------> TIM1_CH1N
  PB15   ------> TIM1_CH3N
  PA8   ------> TIM1_CH1
  PA9   ------> TIM1_CH2
  PA10   ------> TIM1_CH3
  PA12   ------> TIM1_CH2N
  */
  GPIO_InitStruct.Pin = PWM_1N_Pin;
  GPIO_InitStruct.Mode = LL_GPIO_MODE_ALTERNATE;
  GPIO_InitStruct.Speed = LL_GPIO_SPEED_FREQ_LOW;
  GPIO_InitStruct.OutputType = LL_GPIO_OUTPUT_PUSHPULL;
  GPIO_InitStruct.Pull = LL_GPIO_PULL_NO;
  GPIO_InitStruct.Alternate = LL_GPIO_AF_4;
  LL_GPIO_Init(PWM_1N_GPIO_Port, &GPIO_InitStruct);

  GPIO_InitStruct.Pin = PWM_3N_Pin;
  GPIO_InitStruct.Mode = LL_GPIO_MODE_ALTERNATE;
  GPIO_InitStruct.Speed = LL_GPIO_SPEED_FREQ_LOW;
  GPIO_InitStruct.OutputType = LL_GPIO_OUTPUT_PUSHPULL;
  GPIO_InitStruct.Pull = LL_GPIO_PULL_NO;
  GPIO_InitStruct.Alternate = LL_GPIO_AF_4;
  LL_GPIO_Init(PWM_3N_GPIO_Port, &GPIO_InitStruct);

  GPIO_InitStruct.Pin = PWM_1_Pin;
  GPIO_InitStruct.Mode = LL_GPIO_MODE_ALTERNATE;
  GPIO_InitStruct.Speed = LL_GPIO_SPEED_FREQ_LOW;
  GPIO_InitStruct.OutputType = LL_GPIO_OUTPUT_PUSHPULL;
  GPIO_InitStruct.Pull = LL_GPIO_PULL_NO;
  GPIO_InitStruct.Alternate = LL_GPIO_AF_6;
  LL_GPIO_Init(PWM_1_GPIO_Port, &GPIO_InitStruct);

  GPIO_InitStruct.Pin = PWM_2_Pin;
  GPIO_InitStruct.Mode = LL_GPIO_MODE_ALTERNATE;
  GPIO_InitStruct.Speed = LL_GPIO_SPEED_FREQ_LOW;
  GPIO_InitStruct.OutputType = LL_GPIO_OUTPUT_PUSHPULL;
  GPIO_InitStruct.Pull = LL_GPIO_PULL_NO;
  GPIO_InitStruct.Alternate = LL_GPIO_AF_6;
  LL_GPIO_Init(PWM_2_GPIO_Port, &GPIO_InitStruct);

  GPIO_InitStruct.Pin = PWM_3_Pin;
  GPIO_InitStruct.Mode = LL_GPIO_MODE_ALTERNATE;
  GPIO_InitStruct.Speed = LL_GPIO_SPEED_FREQ_LOW;
  GPIO_InitStruct.OutputType = LL_GPIO_OUTPUT_PUSHPULL;
  GPIO_InitStruct.Pull = LL_GPIO_PULL_NO;
  GPIO_InitStruct.Alternate = LL_GPIO_AF_6;
  LL_GPIO_Init(PWM_3_GPIO_Port, &GPIO_InitStruct);

  GPIO_InitStruct.Pin = PWM_2N_Pin;
  GPIO_InitStruct.Mode = LL_GPIO_MODE_ALTERNATE;
  GPIO_InitStruct.Speed = LL_GPIO_SPEED_FREQ_LOW;
  GPIO_InitStruct.OutputType = LL_GPIO_OUTPUT_PUSHPULL;
  GPIO_InitStruct.Pull = LL_GPIO_PULL_NO;
  GPIO_InitStruct.Alternate = LL_GPIO_AF_6;
  LL_GPIO_Init(PWM_2N_GPIO_Port, &GPIO_InitStruct);

}

static void MX_GPIO_Init(void)
{
  LL_GPIO_InitTypeDef GPIO_InitStruct = {0};

  /* GPIO Ports Clock Enable */
  LL_AHB2_GRP1_EnableClock(LL_AHB2_GRP1_PERIPH_GPIOC);
  LL_AHB2_GRP1_EnableClock(LL_AHB2_GRP1_PERIPH_GPIOF);
  LL_AHB2_GRP1_EnableClock(LL_AHB2_GRP1_PERIPH_GPIOA);
  LL_AHB2_GRP1_EnableClock(LL_AHB2_GRP1_PERIPH_GPIOB);

  /**/
  LL_GPIO_ResetOutputPin(CAN_TERM_GPIO_Port, CAN_TERM_Pin);

  /**/
  LL_GPIO_ResetOutputPin(LED_GPIO_Port, LED_Pin);

  /**/
  LL_GPIO_ResetOutputPin(CAN_SHDN_GPIO_Port, CAN_SHDN_Pin);

  /**/
  GPIO_InitStruct.Pin = CAN_TERM_Pin;
  GPIO_InitStruct.Mode = LL_GPIO_MODE_OUTPUT;
  GPIO_InitStruct.Speed = LL_GPIO_SPEED_FREQ_LOW;
  GPIO_InitStruct.OutputType = LL_GPIO_OUTPUT_PUSHPULL;
  GPIO_InitStruct.Pull = LL_GPIO_PULL_NO;
  LL_GPIO_Init(CAN_TERM_GPIO_Port, &GPIO_InitStruct);

  /**/
  GPIO_InitStruct.Pin = LED_Pin;
  GPIO_InitStruct.Mode = LL_GPIO_MODE_OUTPUT;
  GPIO_InitStruct.Speed = LL_GPIO_SPEED_FREQ_LOW;
  GPIO_InitStruct.OutputType = LL_GPIO_OUTPUT_PUSHPULL;
  GPIO_InitStruct.Pull = LL_GPIO_PULL_NO;
  LL_GPIO_Init(LED_GPIO_Port, &GPIO_InitStruct);

  /**/
  GPIO_InitStruct.Pin = J3_PWM_Pin;
  GPIO_InitStruct.Mode = LL_GPIO_MODE_INPUT;
  GPIO_InitStruct.Pull = LL_GPIO_PULL_NO;
  LL_GPIO_Init(J3_PWM_GPIO_Port, &GPIO_InitStruct);

  /**/
  GPIO_InitStruct.Pin = BUTTON_Pin;
  GPIO_InitStruct.Mode = LL_GPIO_MODE_INPUT;
  GPIO_InitStruct.Pull = LL_GPIO_PULL_NO;
  LL_GPIO_Init(BUTTON_GPIO_Port, &GPIO_InitStruct);

  /**/
  GPIO_InitStruct.Pin = CAN_SHDN_Pin;
  GPIO_InitStruct.Mode = LL_GPIO_MODE_OUTPUT;
  GPIO_InitStruct.Speed = LL_GPIO_SPEED_FREQ_LOW;
  GPIO_InitStruct.OutputType = LL_GPIO_OUTPUT_PUSHPULL;
  GPIO_InitStruct.Pull = LL_GPIO_PULL_NO;
  LL_GPIO_Init(CAN_SHDN_GPIO_Port, &GPIO_InitStruct);

  /**/
  GPIO_InitStruct.Pin = ENC_A_Pin;
  GPIO_InitStruct.Mode = LL_GPIO_MODE_INPUT;
  GPIO_InitStruct.Pull = LL_GPIO_PULL_NO;
  LL_GPIO_Init(ENC_A_GPIO_Port, &GPIO_InitStruct);

  /**/
  GPIO_InitStruct.Pin = ENC_B_Pin;
  GPIO_InitStruct.Mode = LL_GPIO_MODE_INPUT;
  GPIO_InitStruct.Pull = LL_GPIO_PULL_NO;
  LL_GPIO_Init(ENC_B_GPIO_Port, &GPIO_InitStruct);

  /**/
  GPIO_InitStruct.Pin = ENC_Z_Pin;
  GPIO_InitStruct.Mode = LL_GPIO_MODE_INPUT;
  GPIO_InitStruct.Pull = LL_GPIO_PULL_NO;
  LL_GPIO_Init(ENC_Z_GPIO_Port, &GPIO_InitStruct);

}

/* USER CODE BEGIN 4 */

#define PWM_MAX 2500

static void pwm_setrefint_3ph_tim1(int16_t ref[3]){
	int i;
	int32_t refi[3];
	uint32_t refu[3];

	for(i=0;i<3;i++){
		refi[i] = ( (int32_t)ref[i]);
		refi[i] += 32768;
		refu[i] = refi[i];
		refu[i] = refu[i] * PWM_MAX;
		refu[i] = refu[i] >> 16;
	}

	TIM1->CCR1 = refu[0];
	TIM1->CCR2 = refu[1];
	TIM1->CCR3 = refu[2];
}

typedef struct
{
	int16_t kp;       //  P-Gain Q13.2
	int16_t ki;       //  I-Gain Q7.8
	int16_t min;      //  lower output limit
	int16_t max;      //  upper output limit
	int32_t i_val;    //  current integral value
} control_pictrl_i16_t;

int16_t control_pictrl_i16(control_pictrl_i16_t* controller, int16_t ref, int16_t act){

	int32_t ctrldiff;
	int32_t p_val, i_val;
	int32_t tmp_out;
	//int16_t out;

	ctrldiff = ((int32_t)ref - (int32_t)act);
	p_val = (((int32_t)controller->kp) * ctrldiff) >> 2;
	if(controller->ki){
		i_val = ((((int32_t)controller->ki) * ctrldiff)>>8) + controller->i_val;
	}
	else {
		i_val = 0.0f;
	}

	tmp_out = (p_val + i_val);

	if(tmp_out > controller->max){
		tmp_out = controller->max;
		if(i_val > controller->i_val) i_val = controller->i_val;
		//i_val = controller->max - p_val;
	}
	if(tmp_out < controller->min){
		tmp_out = controller->min;
		if(i_val < controller->i_val) i_val = controller->i_val;
		//i_val = controller->min - p_val;
	}

	controller->i_val = i_val;
	return((int16_t)tmp_out);
}

//Linear scale / offset:  out = gain*(in + offs)
int16_t interp_linearTrsfm_i16(interp_lin_i16_t* coeffs, int16_t in){
	int32_t accu;

	accu = in + coeffs->offs;
	accu *= coeffs->gain;

	return( (int16_t) (accu>>8));
}

//Control data struct
typedef struct{
	int16_t ia;
	int16_t ib;
	int16_t ic;
	int16_t ua;
	int16_t ub;
	int16_t uc;
	int16_t vbus;
	int16_t iaref;
	int16_t iaval;
	int16_t ibref;
	int16_t ibval;
	//uint32_t cnt_ccon;
	//uint32_t cnt_period;
	//uint32_t cnt_reTrig;
	uint32_t cnt_starta;
	uint32_t cnt_stopa;
	uint32_t cnt_startb;
	uint32_t cnt_stopb;
	int16_t poti;
} ctrl_data_t;
static ctrl_data_t myctrl;

static uint8_t imax = 20;
static uint8_t umax = 25;
static uint8_t umin = 8;
static int32_t ia_offs_sum;
static int32_t ib_offs_sum;
static int32_t ic_offs_sum;

typedef enum {
	sens_state_wft = 0,
	sens_state_run = 1, //inside sensor windows
	sens_state_fly = 2, //behind sensor windows, "free flying"
	sens_state_rdy = 3  //in coil
} sens_states_t;

typedef enum {
	sens_cmd_none = 0,
	sens_cmd_start = 1,
	sens_cmd_reset = 2
}
sens_cmd_t;

typedef struct{
	uint32_t cnt;
	uint16_t spd;
	uint32_t pos;
	uint32_t trigpos;
	uint16_t level;
	uint16_t hyst;
	sens_states_t state;
	sens_cmd_t cmd;
} sens_data_t;
static sens_data_t mysens = {
		.cnt = 0,
		.spd = 0,
		.pos = 0,
		.trigpos = 6000000,
		.level = 3000,
		.hyst = 100,
		.state = sens_state_wft,
		.cmd = sens_cmd_none
};

static bool button_pressed = 0;  //indicate a button press
static bool trigger_in = 0;  //indicate trigger event

//Data recorder (debugging)
typedef enum {
	datarec_state_startup = 0,
	datarec_state_wft = 1,
	datarec_state_rec = 2,
	datarec_state_rdy = 3
} datarec_states_t;

#define BUFLEN 400 //Buffer length
#define CYCLEDIV 4 //cycle div

static struct{
	int16_t ia_buf[BUFLEN];
	int16_t ib_buf[BUFLEN];
	int16_t ic_buf[BUFLEN];
	int16_t ua_buf[BUFLEN];
	int16_t vbus_buf[BUFLEN];
} myDataRecData;

static int i_elecnt = 0;
static int dataRecTrig = 0;

static datarec_states_t myDataRecState = datarec_state_startup;

static volatile struct{
	int cnt;
	int runs;
	int errors;
} myCanData;

void can_init(void){
	myCanData.cnt = 0;
	myCanData.runs = 0;
	myCanData.errors = 0;
}

void can_sm(void){
	//if(mysens.state != sens_state_wft){ //send CAN only when active

	myCanData.cnt++;
	if(myCanData.cnt >= 16){ //1kHz
	//if(myCanData.cnt >= 4){ //4kHz
		myCanData.cnt = 0;
		//TxData[0] = 0x34;
		//TxData[1]++;
		TxData[0] = (myctrl.ua) / 64;
		TxData[1] = (myctrl.ub) / 64;
		TxData[2] = (myctrl.ia) / 64;
		TxData[3] = (myctrl.ib) / 64;
		myCanData.runs++;
		if (HAL_FDCAN_AddMessageToTxFifoQ(&hfdcan1, &TxHeader, TxData) != HAL_OK)
		{
			/* Transmission request Error */
			myCanData.errors++;
			//Error_Handler();
		}
	//}

	}
}

typedef enum {
	ctrl_sm_state_startup = 0,
	ctrl_sm_state_curroffs = 1,
	ctrl_sm_state_ready = 3,
	ctrl_sm_state_ccon = 4,
	ctrl_sm_state_error = 8
} ctrl_sm_states_t;

//Current controllers
static control_pictrl_i16_t pi_a = {
		.i_val = 0,
		.ki = 40,
		.kp = 4,
		.max = 0,  // will be adapted "online" to vbus!!
		.min = 0
};

static control_pictrl_i16_t pi_b = {
		.i_val = 0,
		.ki = 40,
		.kp = 4,
		.max = 0,
		.min = 0
};

static ctrl_sm_states_t ctrl_sm_state = ctrl_sm_state_startup;
static int ctrl_sm_cnt = 0;
static int ctrl_sm_edge_detect = 0;

void control_sm_to_ready_mode(void){
	//stop PWM
	LL_TIM_DisableAllOutputs(TIM1); //PWM off
	ctrl_sm_state = ctrl_sm_state_ready;
	int16_t refs[3] = {0,0,0};
	pwm_setrefint_3ph_tim1(refs);
	ctrl_sm_edge_detect = 0;

	can_init();
}

void control_sm_to_error(void){
	//stop PWM
	LL_TIM_DisableAllOutputs(TIM1); //PWM off
	ctrl_sm_cnt = 0;
	ctrl_sm_state = ctrl_sm_state_error;
	int16_t refs[3] = {0,0,0};
	pwm_setrefint_3ph_tim1(refs);
	ctrl_sm_edge_detect = 0;
}

void control_sm_to_ccon_mode(void){
	//Transfer to pos mode, do initialization
	pi_a.i_val = 0;
	pi_b.i_val = 0;
	//pi_q.i_val = 0;
	//myctrl.cnt_ccon = 0;
	ctrl_sm_state = ctrl_sm_state_ccon;
	int16_t refs[3] = {0,0,0};
	pwm_setrefint_3ph_tim1(refs);
	LL_TIM_EnableAllOutputs(TIM1); //PWM on
	ctrl_sm_edge_detect = 0;
}

void datarec_sm(void){
	if(myDataRecState == datarec_state_startup){
		myDataRecState = datarec_state_wft;
	}
	else if(myDataRecState == datarec_state_wft){
		if(dataRecTrig){
			i_elecnt = 0;
			myDataRecState = datarec_state_rec;
		}
	}
	else if(myDataRecState == datarec_state_rec){
		//store debug data to buffers
		int i_elecnt_dn = i_elecnt / CYCLEDIV;
		myDataRecData.ia_buf[i_elecnt_dn] = myctrl.ia;
		myDataRecData.ib_buf[i_elecnt_dn] = myctrl.ib;
		myDataRecData.ic_buf[i_elecnt_dn] = myctrl.ic;
		myDataRecData.ua_buf[i_elecnt_dn] = myctrl.ua;
		myDataRecData.vbus_buf[i_elecnt_dn] = myctrl.vbus;

		i_elecnt++;
		if(i_elecnt/CYCLEDIV >= BUFLEN) {
			myDataRecState = datarec_state_rdy;
		}
	}
	else if(myDataRecState == datarec_state_rdy){
		if(dataRecTrig == 0){ //wait for manual restart (use debugger!!)
			myDataRecState = datarec_state_wft;
		}
	}
}

void control_sm(void){

	//master_data[master_data_pread] is always consistent, because WFB ISR can not interrupt control ISR

	if(ctrl_sm_state == ctrl_sm_state_startup){
		ctrl_sm_cnt++;
		//delay 0.5s
		if(ctrl_sm_cnt >= 8000){
			ctrl_sm_cnt = 0;
			ia_offs_sum = ib_offs_sum = ic_offs_sum = 0;
			ctrl_sm_state = ctrl_sm_state_curroffs;

			//myctrl.cnt_period = 160000; //10s
			//myctrl.cnt_reTrig = 1600;

			mysens.trigpos = 3000000;
			myctrl.cnt_starta = 0;
			myctrl.cnt_stopa = 440;
			myctrl.iaval = 2500; //3000 = 10A

			myctrl.cnt_startb = 0;
			myctrl.cnt_stopb = 8000;
			myctrl.ibval = 0;
			//myctrl.ibval = 0;
		}
	}
	else if(ctrl_sm_state == ctrl_sm_state_ready){
		ctrl_sm_cnt++;
		//if(button_pressed){
		if(ctrl_sm_cnt >= 8000){  //with autostart after 0.5s
			control_sm_to_ccon_mode();
		}
		else{
			ctrl_sm_edge_detect = 1;
		}
	}
	else if(ctrl_sm_state == ctrl_sm_state_error){
		ctrl_sm_cnt++;
		if(ctrl_sm_cnt >= 80000){  //with autostart after 5s
			control_sm_to_ready_mode();
		}
		else{
			ctrl_sm_edge_detect = 1;
		}
	}
	else if(ctrl_sm_state == ctrl_sm_state_curroffs){
		ctrl_sm_cnt++;
		//wait 0.5s for offset determination
		if((!calib_data.i_autoOffs) || (ctrl_sm_cnt >= 8000)){
			control_sm_to_ready_mode();
			if (calib_data.i_autoOffs){
				calib_data.ia.offs = ia_offs_sum / 8000;
				calib_data.ib.offs = ib_offs_sum / 8000;
				calib_data.ic.offs = ic_offs_sum / 8000;
			}
			//Optionally, do not do this automatically, but only after command from master
			ctrl_sm_cnt = 0;
			control_sm_to_ready_mode();
		}

	}
	else if(ctrl_sm_state == ctrl_sm_state_ccon){
		ctrl_sm_cnt = 0;
		if(button_pressed){
			if(ctrl_sm_edge_detect){
				control_sm_to_ready_mode();
			}
		}
		else{
			ctrl_sm_edge_detect = 1;
		}
	}

}

void sens_eval(void){
	if( mysens.state == sens_state_wft){
		if(myctrl.poti < mysens.level){
			mysens.cmd = sens_cmd_none;
			mysens.cnt = 0;
			mysens.state = sens_state_run;
		}
	}
	else if( mysens.state == sens_state_run){
		mysens.cnt++;
		if(myctrl.poti > mysens.level) {
			mysens.cnt = 0;
			mysens.state = sens_state_wft;
		}
		else if(mysens.cnt == 16000){
			mysens.cnt = 0;
			mysens.cmd = sens_cmd_none;
			mysens.state = sens_state_rdy;
		}
	}
	else if( mysens.state == sens_state_rdy){
		mysens.cnt++;
		if(mysens.cmd == sens_cmd_reset){
			mysens.cmd = sens_cmd_none;
			mysens.state = sens_state_wft;
		}
	}

}

//32kHz PWM
//16kHz Aufruf (??)
void main_pwm_ctrl(void){
	if(LL_GPIO_IsInputPinSet(BUTTON_GPIO_Port, BUTTON_Pin)){
		button_pressed = 0;
	} else{
		button_pressed = 1;
	}
	LL_GPIO_SetPinPull(BUTTON_GPIO_Port, BUTTON_Pin, LL_GPIO_PULL_DOWN);

	if(LL_GPIO_IsInputPinSet(ENC_A_GPIO_Port, ENC_A_Pin)){
		trigger_in = 0;
	} else{
		trigger_in = 1;
	}

	control_sm();

	// *** CURRENT MEASUREMENT and transformation ***
	while(!LL_ADC_IsActiveFlag_JEOS(ADC1)){
		//Error after certain time, if adc will not get ready -> signal error!
		//should not happen, because due to encoder read and conversion, a lot of time has passed
	}

	//Currents are in int16, Q7.8
	int16_t ia_raw = (int16_t) LL_ADC_INJ_ReadConversionData12(ADC1, LL_ADC_INJ_RANK_1);
	myctrl.ia = interp_linearTrsfm_i16(&calib_data.ia, ia_raw);

	//1024 = 9.0V,  1143 = 10.0V, 1262 = 11.0V
	int16_t vbusraw = (int16_t) LL_ADC_INJ_ReadConversionData12(ADC1, LL_ADC_INJ_RANK_2);
	myctrl.vbus = interp_linearTrsfm_i16(&calib_data.vbus, vbusraw);
	if( myctrl.vbus < (5<<8) ) {
		myctrl.vbus = (5<<8);
	}
	if( myctrl.vbus > (40<<8) ){
		myctrl.vbus = (40<<8);
	}
	int16_t divvbus = 32767/myctrl.vbus;

	int16_t potiraw = (int16_t) LL_ADC_INJ_ReadConversionData12(ADC1, LL_ADC_INJ_RANK_3);
	myctrl.poti = interp_linearTrsfm_i16(&calib_data.poti, potiraw);

	int16_t ib_raw = (int16_t) LL_ADC_INJ_ReadConversionData12(ADC2, LL_ADC_INJ_RANK_1);
	myctrl.ib = interp_linearTrsfm_i16(&calib_data.ib, ib_raw);

	int16_t ic_raw = (int16_t) LL_ADC_INJ_ReadConversionData12(ADC2, LL_ADC_INJ_RANK_2);
	myctrl.ic = interp_linearTrsfm_i16(&calib_data.ic, ic_raw);

	if(ctrl_sm_state >= ctrl_sm_state_ready){
		//signal over- / undervoltage and overcurrent
		if(     (myctrl.ia > ((int16_t)imax)*256)  ||    (myctrl.ia < ((int16_t)imax)*-256)       ){
			control_sm_to_error();
		}
		if(     (myctrl.ib > ((int16_t)imax)*256)  ||    (myctrl.ib < ((int16_t)imax)*-256)       ){
			control_sm_to_error();
		}
		if(     (myctrl.ib > ((int16_t)imax)*256)  ||    (myctrl.ib < ((int16_t)imax)*-256)       ){
			control_sm_to_error();
		}
		if(     (myctrl.vbus > ((int16_t)umax)*256)  ||    (myctrl.vbus < ((int16_t)umin)*256)       ){
			control_sm_to_error();
		}
	}

	sens_eval();

	if (ctrl_sm_state == ctrl_sm_state_curroffs) {
		ia_offs_sum -= ia_raw;
		ib_offs_sum -= ib_raw;
		ic_offs_sum -= ic_raw;
	}

	// *** CONTROLLERS: Position / Current ***
	if(ctrl_sm_state == ctrl_sm_state_ccon){
//		myctrl.cnt_ccon++;
//		if( myctrl.cnt_ccon >= myctrl.cnt_period ){
//			myctrl.cnt_ccon=0;
//			dataRecTrig = 1;
//		}
//		else if( (myctrl.cnt_ccon >= myctrl.cnt_reTrig) &&  trigger_in){
//			myctrl.cnt_ccon=0;
//			dataRecTrig = 1;
//		}

		myctrl.iaref = 256*0; //0A
		myctrl.ibref = 256*0; //0A

		if(mysens.state == sens_state_rdy){
			if(   (mysens.cnt > myctrl.cnt_starta) && (mysens.cnt < myctrl.cnt_stopa)){
				myctrl.iaref = myctrl.iaval; //for testing
			}
			if(   (mysens.cnt > myctrl.cnt_startb) && (mysens.cnt < myctrl.cnt_stopb)){
				myctrl.ibref = myctrl.ibval; //for testing
			}
			if(mysens.cnt > myctrl.cnt_stopb){
				mysens.cmd = sens_cmd_reset;
			}
		}

	}

	if( ctrl_sm_state == ctrl_sm_state_ccon ){
		//Current Controllers
		pi_a.max = myctrl.vbus;
		pi_a.min = -myctrl.vbus;
		pi_b.max = myctrl.vbus;
		pi_b.min = -myctrl.vbus;

		myctrl.ua = control_pictrl_i16(&pi_a,myctrl.iaref,myctrl.ia);
		myctrl.ub = 0;
		//myctrl.ub = control_pictrl_i16(&pi_b,myctrl.ibref,myctrl.ib);
		myctrl.uc = -(myctrl.ua);
	}

	int16_t refs[3];
	int32_t tmpref = myctrl.ua*divvbus;
	if(tmpref > 32767) tmpref = 32767;
	if(tmpref < -32768) tmpref = -32768;
	refs[0] = tmpref;

	tmpref = myctrl.ub*divvbus;
	if(tmpref > 32767) tmpref = 32767;
	if(tmpref < -32768) tmpref = -32768;
	refs[1] = tmpref;

	tmpref = myctrl.uc*divvbus;
	if(tmpref > 32767) tmpref = 32767;
	if(tmpref < -32768) tmpref = -32768;
	refs[2] = tmpref;

	if(ctrl_sm_state == ctrl_sm_state_ready){
		refs[0] = 0;
		refs[1] = 0;
		refs[2] = 0;
	}

	//PWM output
	pwm_setrefint_3ph_tim1(refs);

	datarec_sm();
	can_sm();

	LL_GPIO_SetPinPull(BUTTON_GPIO_Port, BUTTON_Pin, LL_GPIO_PULL_NO);
}

/* USER CODE END 4 */

void Error_Handler(void)
{
  __disable_irq();
  while (1)
  {
  }
}
